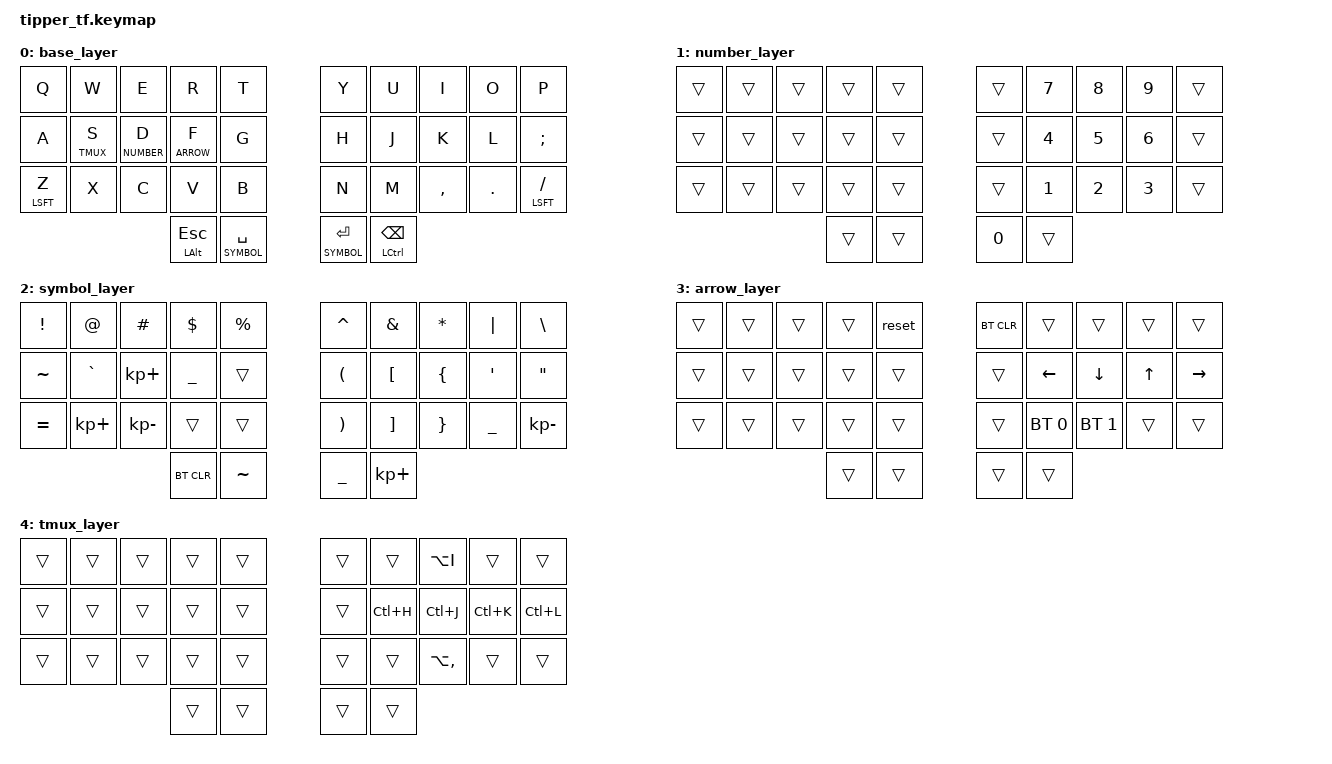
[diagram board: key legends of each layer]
/*
 * Copyright (c) 2021 weteor
 *
 * SPDX-License-Identifier: MIT
 */

#include <behaviors.dtsi>
#include <dt-bindings/zmk/keys.h>
#include <dt-bindings/zmk/bt.h>
#include <dt-bindings/zmk/outputs.h>

#define BASE 0
#define NUMBER 1
#define SYMBOL 2
#define ARROW 3
#define TMUX 4

// repeating space/backspace
&lt { quick_tap_ms = <200>; };

/ {
    combos {
        compatible = "zmk,combos";
        combo_del {
            timeout-ms = <50>;
            key-positions = <15 16>;
            bindings = <&kp BSPC>;
        };
        combo_tab {
            timeout-ms = <50>;
            key-positions = <16 17>;
            bindings = <&kp TAB>;
        };
        combo_alt {
            timeout-ms = <50>;
            key-positions = <25 26>;
            bindings = <&kp LGUI>;
        };
    };

    behaviors {
        hm: homerow_mods {
            compatible = "zmk,behavior-hold-tap";
            label = "homerow mods";
            #binding-cells = <2>;
            tapping_term_ms = <180>;
            flavor = "tap-preferred";
            bindings = <&kp>, <&kp>;
        };
    };
    
    keymap {
        compatible = "zmk,keymap";
                
        base_layer {
// ┌─────┬─────┬─────┬─────┬─────┐   ┌─────┬─────┬─────┬─────┬─────┐
// │  Q  │  W  │  E  │  R  │  T  │   │  Y  │  U  │  I  │  O  │  P  │
// ├─────┼─────┼─────┼─────┼─────┤   ├─────┼─────┼─────┼─────┼─────┤
// │  A  │S TMX│D NUM│F ARR│  G  │   │  H  │  J  │  K  │  L  │  ;  │
// ├─────┼─────┼─────┼─────┼─────┤   ├─────┼─────┼─────┼─────┼─────┤
// │Z SFT│  X  │  C  │  V  │  B  │   │  N  │  M  │  ,  │  .  │/ SFT│
// └─────┴─────┴─────┼─────┼─────┤   ├─────┼─────┼─────┴─────┴─────┘
//                   │EALT │SPC  │   │ ENT │BCTL │
//                   │ ESC │ SYM │   │ SYM │BSPC │
//                   └─────┴─────┘   └─────┴─────┘
            bindings = <
                &kp Q         &kp W         &kp E           &kp R           &kp T       &kp Y         &kp U         &kp I         &kp O         &kp P 
                &kp A         &lt TMUX S    &lt NUMBER D   &lt ARROW F    &kp G       &kp H         &kp J         &kp K         &kp L         &kp SEMICOLON
                &mt LSFT Z    &kp X         &kp C           &kp V           &kp B       &kp N         &kp M         &kp COMMA     &kp DOT       &mt LSFT SLASH
                                                            &mt LALT ESC    &lt SYMBOL SPACE   &lt SYMBOL ENTER   &mt LCTRL BSPC 
            >;
        };

        number_layer {
// ┌─────┬─────┬─────┬─────┬─────┐   ┌─────┬─────┬─────┬─────┬─────┐
// │     │     │     │     │     │   │     │  7  │  8  │  9  │     │
// ├─────┼─────┼─────┼─────┼─────┤   ├─────┼─────┼─────┼─────┼─────┤
// │     │     │     │     │     │   │     │  4  │  5  │  6  │     │
// ├─────┼─────┼─────┼─────┼─────┤   ├─────┼─────┼─────┼─────┼─────┤
// │     │     │     │     │     │   │     │  1  │  2  │  3  │     │
// └─────┴─────┴─────┼─────┼─────┤   ├─────┼─────┼─────┴─────┴─────┘
//                   │     │     │   │  0  │     │
//                   └─────┴─────┘   └─────┴─────┘
            bindings = <
                &trans        &trans        &trans          &trans          &trans      &trans        &kp N7        &kp N8        &kp N9        &trans     
                &trans        &trans        &trans          &trans          &trans      &trans        &kp N4        &kp N5        &kp N6        &trans 
                &trans        &trans        &trans          &trans          &trans      &trans        &kp N1        &kp N2        &kp N3        &trans
                                                            &trans          &trans      &kp N0        &trans 
            >;
        };
        
        symbol_layer {
// ┌─────┬─────┬─────┬─────┬─────┐   ┌─────┬─────┬─────┬─────┬─────┐
// │  !  │  @  │  #  │  $  │  %  │   │  ^  │  &  │  *  │  |  │  \  │
// ├─────┼─────┼─────┼─────┼─────┤   ├─────┼─────┼─────┼─────┼─────┤
// │  ~  │  `  │  +  │  _  │     │   │  (  │  [  │  {  │  '  │  "  │
// ├─────┼─────┼─────┼─────┼─────┤   ├─────┼─────┼─────┼─────┼─────┤
// │  =  │  +  │  -  │     │     │   │  )  │  ]  │  }  │  _  │  -  │
// └─────┴─────┴─────┼─────┼─────┤   ├─────┼─────┼─────┴─────┴─────┘
//                   │BTCLR│  ~  │   │  _  │  +  │
//                   └─────┴─────┘   └─────┴─────┘
            bindings = <
                &kp EXCL      &kp AT        &kp HASH        &kp DOLLAR      &kp PERCENT    &kp CARET     &kp AMPERSAND &kp ASTERISK  &kp PIPE      &kp BACKSLASH
                &kp TILDE     &kp GRAVE     &kp KP_PLUS     &kp UNDER       &trans         &kp LPAR      &kp LBKT      &kp LBRC      &kp SQT       &kp DQT  
                &kp EQUAL     &kp KP_PLUS   &kp KP_MINUS    &trans          &trans         &kp RPAR      &kp RBKT      &kp RBRC      &kp UNDER     &kp KP_MINUS  
                                                            &bt BT_CLR      &kp TILDE      &kp UNDER     &kp KP_PLUS  
            >;
        };    
        
        arrow_layer {
// ┌─────┬─────┬─────┬─────┬─────┐   ┌─────┬─────┬─────┬─────┬─────┐
// │     │     │     │     │RESET│   │BTCLR│     │     │     │     │
// ├─────┼─────┼─────┼─────┼─────┤   ├─────┼─────┼─────┼─────┼─────┤
// │     │     │     │     │     │   │     │  ←  │  ↓  │  ↑  │  →  │
// ├─────┼─────┼─────┼─────┼─────┤   ├─────┼─────┼─────┼─────┼─────┤
// │     │     │     │     │     │   │     │ BT0 │ BT1 │     │     │
// └─────┴─────┴─────┼─────┼─────┤   ├─────┼─────┼─────┴─────┴─────┘
//                   │     │     │   │     │     │
//                   └─────┴─────┘   └─────┴─────┘
            bindings = <
                &trans        &trans        &trans          &trans          &reset         &bt BT_CLR    &trans         &trans        &trans        &trans
                &trans        &trans        &trans          &trans          &trans         &trans        &kp LEFT      &kp DOWN     &kp UP        &kp RIGHT  
                &trans        &trans        &trans          &trans          &trans         &trans        &bt BT_SEL 0  &bt BT_SEL 1 &trans        &trans
                                                            &trans          &trans         &trans        &trans  
            >;
        };    

        tmux_layer {
// ┌─────┬─────┬─────┬─────┬─────┐   ┌─────┬─────┬─────┬─────┬─────┐
// │     │     │     │     │     │   │     │     │ A-I │     │     │
// ├─────┼─────┼─────┼─────┼─────┤   ├─────┼─────┼─────┼─────┼─────┤
// │     │     │     │     │     │   │     │ C-H │ C-J │ C-K │ C-L │
// ├─────┼─────┼─────┼─────┼─────┤   ├─────┼─────┼─────┼─────┼─────┤
// │     │     │     │     │     │   │     │     │A-COM│     │     │
// └─────┴─────┴─────┼─────┼─────┤   ├─────┼─────┼─────┴─────┴─────┘
//                   │     │     │   │     │     │
//                   └─────┴─────┘   └─────┴─────┘
            bindings = <
                &trans        &trans        &trans          &trans          &trans         &trans        &trans        &kp LA(I)     &trans        &trans     
                &trans        &trans        &trans          &trans          &trans         &trans        &kp LC(H)     &kp LC(J)     &kp LC(K)     &kp LC(L)
                &trans        &trans        &trans          &trans          &trans         &trans        &trans        &kp LA(COMMA) &trans        &trans 
                                                            &trans          &trans         &trans        &trans  
            >;
        };    
    };
};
